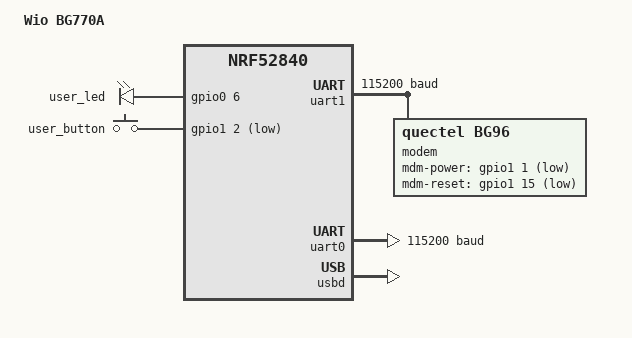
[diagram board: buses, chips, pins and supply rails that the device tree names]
/*
 * Copyright (c) Seeed K.K.
 * SPDX-License-Identifier: Apache-2.0
 */

/dts-v1/;
#include <nordic/nrf52840_qiaa.dtsi>
#include <nordic/nrf52840_partition_uf2_sdv7.dtsi>
#include "wio_bg770a-pinctrl.dtsi"

/ {
	model = "Wio BG770A";
	compatible = "seeed,wio-bg770a";

	aliases {
		led0 = &user_led;
		sw0 = &user_button;

		user-led = &user_led;
		user-button = &user_button;
	};

	leds {
		compatible = "gpio-leds";

		user_led: led0 {
			gpios = <&gpio0 6 GPIO_ACTIVE_HIGH>;
		};
	};

	keys {
		compatible = "gpio-keys";

		user_button: key0 {
			gpios = <&gpio1 2 (GPIO_ACTIVE_LOW | GPIO_PULL_UP)>;
			zephyr,code = <INPUT_KEY_0>;
		};
	};
};

&gpiote {
	status = "okay";
};

&gpio0 {
	status = "okay";
};

&gpio1 {
	status = "okay";
};

&uart1 {
	compatible = "nordic,nrf-uarte";
	status = "okay";
	current-speed = <115200>;
	hw-flow-control;
	pinctrl-0 = <&uart1_default>;
	pinctrl-1 = <&uart1_sleep>;
	pinctrl-names = "default", "sleep";

	modem: bg770a {
		compatible = "quectel,bg96";
		status = "okay";
		mdm-power-gpios = <&gpio1 1 (GPIO_ACTIVE_LOW | GPIO_OPEN_DRAIN)>;
		mdm-reset-gpios = <&gpio1 15 (GPIO_ACTIVE_LOW | GPIO_OPEN_DRAIN)>;
	};
};

grove_uart: &uart0 {
	compatible = "nordic,nrf-uarte";
	status = "okay";
	current-speed = <115200>;
	pinctrl-0 = <&uart0_default>;
	pinctrl-1 = <&uart0_sleep>;
	pinctrl-names = "default", "sleep";
};

zephyr_udc0: &usbd {
	compatible = "nordic,nrf-usbd";
	status = "okay";
};

#include <../boards/common/usb/cdc_acm_serial.dtsi>
